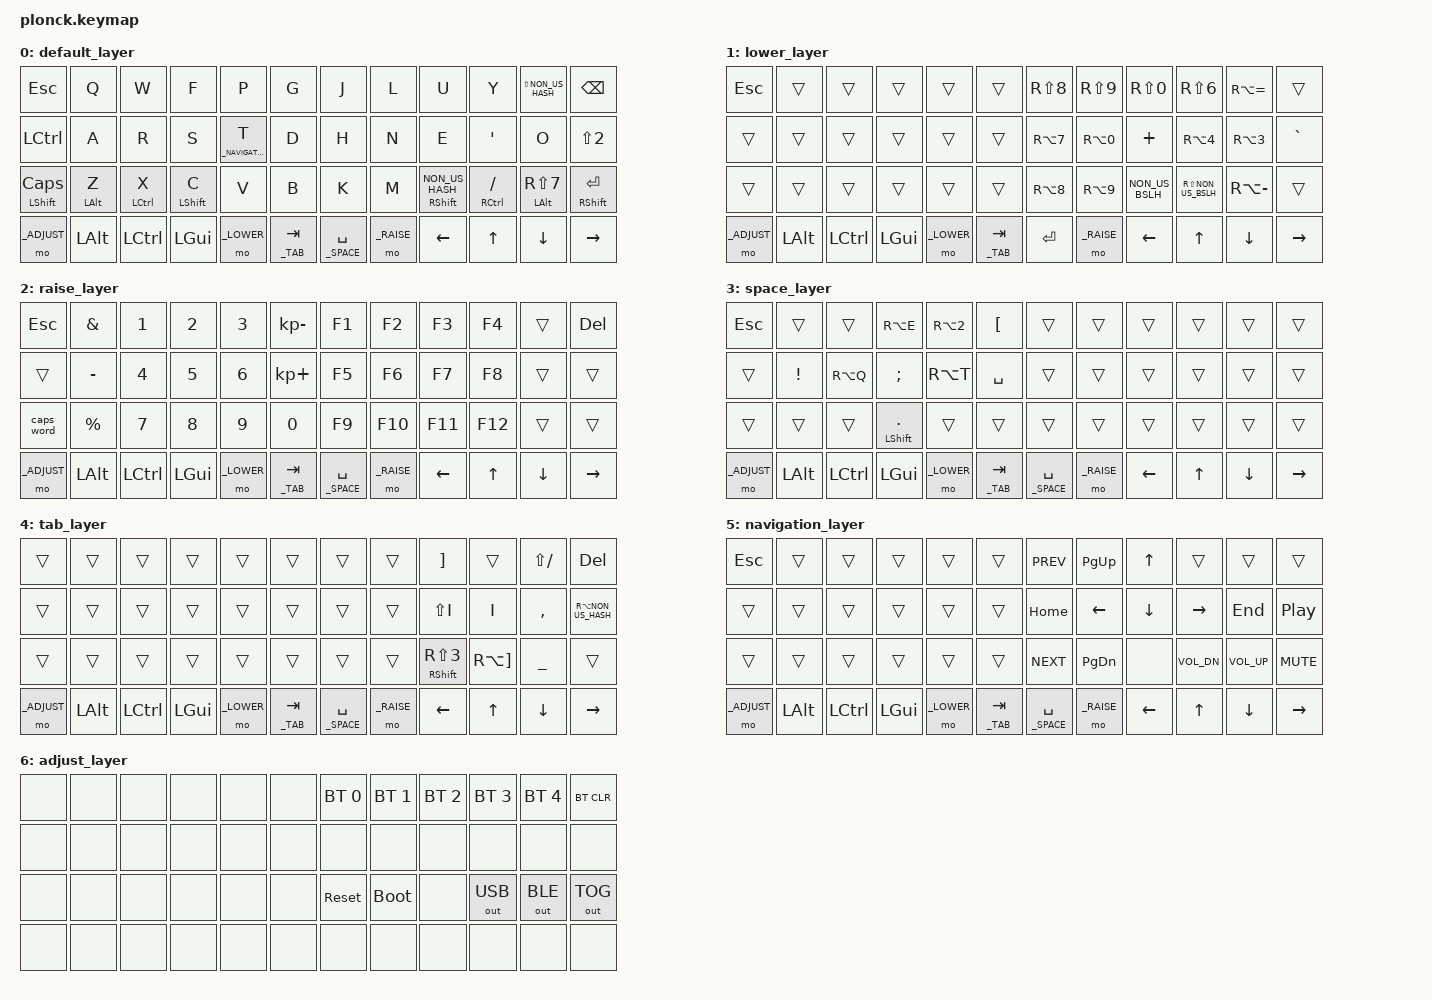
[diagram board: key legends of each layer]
/*
 * Copyright (c) 2021 ozkan
 *
 * SPDX-License-Identifier: MIT
 */


#include <behaviors.dtsi>
#include <dt-bindings/zmk/keys.h>
#include <dt-bindings/zmk/bt.h>
#include <dt-bindings/zmk/outputs.h>


// Layers
#define _COLEMAK     0
#define _LOWER       1
#define _RAISE       2
#define _SPACE       3
#define _TAB         4
#define _NAVIGATION  5
#define _ADJUST      6

&lt {
  quick_tap_ms = <200>;
};



/ {
    keymap {
        compatible = "zmk,keymap";

        default_layer {
           /* COLEMAK LAYER (DEFAULT)
            *╭──────┬──────┬──────┬──────┬──────┬──────┬──────┬──────┬──────┬──────┬──────┬──────╮
            *│  ESC │  Q   │  W   │  F   │  P   │  G   │  J   │  L   │  U   │  Y   │   ;  │ BSPC │
            *├──────┼──────┼──────┼──────┼──────┼──────┼──────┼──────┼──────┼──────┼──────┼──────┤
            *│ CTRL │  A   │  R   │  S   │NAV T │  D   │  H   │  N   │  E   │  I   │  O   │   '  │
            *├──────┼──────┼──────┼──────┼──────┼──────┼──────┼──────┼──────┼──────┼──────┼──────┤
            *│SFT_CL│ALT Z │CTL X │SFT C │  V   │  B   │  K   │  M   │SFT , │CTL . │ALT / │ ENT  │
            *├──────┼──────┼──────┼──────┼──────┼──────┼──────┼──────┼──────┼──────┼──────┼──────┤
            *│ADJUST│ LALT │LCTRL │ GUI  │LOWER │ TAB  │ SPC  │RAISE │  ‎‎← ‎‎  │  ↑   │  ↓   │  →   │
            *╰──────┴──────┴──────┴──────┴──────┴──────┴──────┴──────┴──────┴──────┴──────┴──────╯
            */
            bindings = <
                &kp ESC         &kp Q      &kp W        &kp F       &kp P              &kp G             &kp J             &kp L       &kp U                 &kp Y          &kp LS(NON_US_HASH) &kp BSPC
                &kp LCTRL       &kp A      &kp R        &kp S       &lt _NAVIGATION T  &kp D             &kp H             &kp N       &kp E                 &kp SQT        &kp O               &kp LS(N2)
                &mt LSHFT CLCK  &mt LALT Z &mt LCTRL X  &mt LSHFT C &kp V              &kp B             &kp K             &kp M       &mt RSHFT NON_US_HASH &mt RCTRL FSLH &mt LALT RS(N7)     &mt RSHFT RET
                &mo _ADJUST     &kp LALT  &kp LCTRL     &kp LGUI    &mo _LOWER         &lt _TAB TAB      &lt _SPACE SPACE  &mo _RAISE  &kp LEFT              &kp UP         &kp DOWN            &kp RIGHT
                >;
            };

        lower_layer {
           /* Lower
            *╭──────┬──────┬──────┬──────┬──────┬──────┬──────┬──────┬──────┬──────┬──────┬──────╮
            *│  ESC │      │      │      │      │      │  (   │   )  │   =  │   &  │  |   │      │
            *├──────┼──────┼──────┼──────┼──────┼──────┼──────┼──────┼──────┼──────┼──────┼──────┤
            *│      │      │      │      │      │      │  {   │   }  │   _  │   $  │  #   │  "   │
            *├──────┼──────┼──────┼──────┼──────┼──────┼──────┼──────┼──────┼──────┼──────┼──────┤
            *│      │      │      │      │      │      │  [   │   ]  │   <  │  >   │  \   │      │
            *├──────┼──────┼──────┼──────┼──────┼──────┼──────┼──────┼──────┼──────┼──────┼──────┤
            *│ADJUST│ LALT │LCTRL │ GUI  │LOWER │ TAB  │ SPC  │RAISE │  ‎‎← ‎‎  │  ↑   │  ↓   │  →   │
            *╰──────┴──────┴──────┴──────┴──────┴──────┴──────┴──────┴──────┴──────┴──────┴──────╯
            */
            bindings = <
                &kp ESC      &trans    &trans     &trans    &trans      &trans          &kp RS(N8)        &kp RS(N9)  &kp RS(N0)       &kp RS(N6)           &kp RA(EQUAL)  &trans
                &trans       &trans    &trans     &trans    &trans      &trans          &kp RA(N7)        &kp RA(N0)  &kp PLUS         &kp RA(N4)           &kp RA(N3)     &kp GRAVE
                &trans       &trans    &trans     &trans    &trans      &trans          &kp RA(N8)        &kp RA(N9)  &kp NON_US_BSLH  &kp RS(NON_US_BSLH)  &kp RA(MINUS)  &trans
                &mo _ADJUST  &kp LALT  &kp LCTRL  &kp LGUI  &mo _LOWER  &lt _TAB TAB    &kp RET           &mo _RAISE  &kp LEFT         &kp UP               &kp DOWN       &kp RIGHT
            >;
        };
        
        raise_layer {
           /* Raise
            *╭──────┬──────┬──────┬──────┬──────┬──────┬──────┬──────┬──────┬──────┬──────┬──────╮
            *│  ESC │  /   │  1   │  2   │  3   │  -   │  F1  │  F2  │  F3  │  F4  │      │      │
            *├──────┼──────┼──────┼──────┼──────┼──────┼──────┼──────┼──────┼──────┼──────┼──────┤
            *│      │  *   │  4   │  5   │  6   │  +   │  F5  │  F6  │  F7  │  F8  │      │      │
            *├──────┼──────┼──────┼──────┼──────┼──────┼──────┼──────┼──────┼──────┼──────┼──────┤
            *│      │  %   │  7   │  8   │  9   │  0   │  F9  │  F10 │  F11 │  F12 │      │      │
            *├──────┼──────┼──────┼──────┼──────┼──────┼──────┼──────┼──────┼──────┼──────┼──────┤
            *│ADJUST│ LALT │LCTRL │ GUI  │LOWER │ TAB  │ SPC  │RAISE │  ‎‎← ‎‎  │  ↑   │  ↓   │  →   │
            *╰──────┴──────┴──────┴──────┴──────┴──────┴──────┴──────┴──────┴──────┴──────┴──────╯
            */
            bindings = <
                &kp ESC      &kp AMPS    &kp N1     &kp N2    &kp N3      &kp KP_MINUS    &kp F1            &kp F2      &kp F3    &kp F4   &trans    &kp DEL
                &trans       &kp MINUS   &kp N4     &kp N5    &kp N6      &kp KP_PLUS     &kp F5            &kp F6      &kp F7    &kp F8   &trans    &trans
                &caps_word   &kp PRCNT   &kp N7     &kp N8    &kp N9      &kp N0          &kp F9            &kp F10     &kp F11   &kp F12  &trans    &trans
                &mo _ADJUST  &kp LALT    &kp LCTRL  &kp LGUI  &mo _LOWER  &lt _TAB TAB    &lt _SPACE SPACE  &mo _RAISE  &kp LEFT  &kp UP   &kp DOWN  &kp RIGHT
            >;
        };

        space_layer {
           /* Space Layer 
            *╭──────┬──────┬──────┬──────┬──────┬──────┬──────┬──────┬──────┬──────┬──────┬──────╮
            *│  ESC │      │      │  €   │  £   │   Ğ  │      │      │      │      │      │      │
            *├──────┼──────┼──────┼──────┼──────┼──────┼──────┼──────┼──────┼──────┼──────┼──────┤
            *│      │  !   │  @   │  Ş   │  ₺   │      │      │      │      │      │      │      │
            *├──────┼──────┼──────┼──────┼──────┼──────┼──────┼──────┼──────┼──────┼──────┼──────┤
            *│      │      │   Ç  │      │      │      │      │      │      │      │      │      │
            *├──────┼──────┼──────┼──────┼──────┼──────┼──────┼──────┼──────┼──────┼──────┼──────┤
            *│ADJUST│ LALT │LCTRL │ GUI  │LOWER │ TAB  │ SPC  │RAISE │  ‎‎← ‎‎  │  ↑   │  ↓   │  →   │
            *╰──────┴──────┴──────┴──────┴──────┴──────┴──────┴──────┴──────┴──────┴──────┴──────╯
            */
            bindings = <
                &kp ESC      &trans    &trans     &kp RA(E)        &kp  RA(N2)  &kp LBKT        &trans            &trans      &trans     &trans   &trans    &trans
                &trans       &kp EXCL  &kp RA(Q)  &kp SEMI         &kp  RA(T)   &kp SPACE       &trans            &trans      &trans     &trans   &trans    &trans
                &trans       &trans    &trans     &mt LSHFT  DOT   &trans       &trans          &trans            &trans      &trans     &trans   &trans    &trans
                &mo _ADJUST  &kp LALT  &kp LCTRL  &kp LGUI         &mo _LOWER   &lt _TAB TAB    &lt _SPACE SPACE  &mo _RAISE  &kp LEFT   &kp UP   &kp DOWN  &kp RIGHT
            >;
        };

        tab_layer {
           /* Tab Layer 
            *╭──────┬──────┬──────┬──────┬──────┬──────┬──────┬──────┬──────┬──────┬──────┬──────╮
            *│      │      │      │      │      │      │      │      │      │   Ü  │  :   │ DEL  │
            *├──────┼──────┼──────┼──────┼──────┼──────┼──────┼──────┼──────┼──────┼──────┼──────┤
            *│      │      │      │      │      │      │      │      │      │   I  │  Ö   │  `   │
            *├──────┼──────┼──────┼──────┼──────┼──────┼──────┼──────┼──────┼──────┼──────┼──────┤
            *│      │      │      │      │      │      │      │      │   ^  │   ~  │  ?   │      │
            *├──────┼──────┼──────┼──────┼──────┼──────┼──────┼──────┼──────┼──────┼──────┼──────┤
            *│ADJUST│ LALT │LCTRL │ GUI  │LOWER │ TAB  │ SPC  │RAISE │  ‎‎← ‎‎  │  ↑   │  ↓   │  →   │
            *╰──────┴──────┴──────┴──────┴──────┴──────┴──────┴──────┴──────┴──────┴──────┴──────╯
            */
            bindings = <
                &trans       &trans    &trans     &trans    &trans       &trans          &trans            &trans      &kp RBKT            &trans         &kp LS(SLASH)   &kp DEL
                &trans       &trans    &trans     &trans    &trans       &trans          &trans            &trans      &kp LS(I)           &kp I          &kp COMMA       &kp RA(NON_US_HASH)
                &trans       &trans    &trans     &trans    &trans       &trans          &trans            &trans      &mt RSHFT RS(N3)    &kp RA(RBKT)   &kp UNDER       &trans
                &mo _ADJUST  &kp LALT  &kp LCTRL  &kp LGUI  &mo _LOWER   &lt _TAB TAB    &lt _SPACE SPACE  &mo _RAISE  &kp LEFT            &kp UP         &kp DOWN        &kp RIGHT
            >;
        };


        navigation_layer {
            /* Navigation Layer
            *╭──────┬──────┬──────┬──────┬──────┬──────┬──────┬──────┬──────┬──────┬──────┬──────╮
            *│      │      │      │      │      │      │C_PREV│PG_UP │   ↑  │      │      │      │
            *├──────┼──────┼──────┼──────┼──────┼──────┼──────┼──────┼──────┼──────┼──────┼──────┤
            *│      │      │      │      │      │      │ HOME │  ‎‎←   │   ↓  │   →  │ END  │  P_P │     
            *├──────┼──────┼──────┼──────┼──────┼──────┼──────┼──────┼──────┼──────┼──────┼──────┤
            *│      │      │      │      │      │      │C_NEXT│PG_DN │      │VOL_DN│VOL_UP│ MUTE │
            *├──────┼──────┼──────┼──────┼──────┼──────┼──────┼──────┼──────┼──────┼──────┼──────┤
            *│ADJUST│ LALT │LCTRL │ GUI  │LOWER │ TAB  │ SPC  │RAISE │  ‎‎← ‎‎  │  ↑   │  ↓   │  →   │
            *╰──────┴──────┴──────┴──────┴──────┴──────┴──────┴──────┴──────┴──────┴──────┴──────╯
            */
             bindings = <
                &kp ESC      &trans    &trans     &trans    &trans       &trans          &kp C_PREV        &kp PG_UP   &kp UP     &trans         &trans         &trans
                &trans       &trans    &trans     &trans    &trans       &trans          &kp HOME          &kp LEFT    &kp DOWN   &kp RIGHT      &kp END        &kp C_PLAY_PAUSE
                &trans       &trans    &trans     &trans    &trans       &trans          &kp C_NEXT        &kp PG_DN   &none      &kp C_VOL_DN   &kp C_VOL_UP   &kp C_MUTE
                &mo _ADJUST  &kp LALT  &kp LCTRL  &kp LGUI  &mo _LOWER   &lt _TAB TAB    &lt _SPACE SPACE  &mo _RAISE  &kp LEFT   &kp UP         &kp DOWN       &kp RIGHT
            >;
        };

        adjust_layer {
            /* Adjust Layer
            *╭──────┬──────┬──────┬──────┬──────┬──────┬──────┬──────┬──────┬──────┬──────┬──────╮
            *│      │      │      │      │      │      │  BT1 │ BT2  │ BT3  │ BT4  │ BT5  │BT_CLR│
            *├──────┼──────┼──────┼──────┼──────┼──────┼──────┼──────┼──────┼──────┼──────┼──────┤
            *│      │      │      │      │      │      │      │      │      │      │      │      │
            *├──────┼──────┼──────┼──────┼──────┼──────┼──────┼──────┼──────┼──────┼──────┼──────┤
            *│      │      │      │      │      │      │RESET │BOOTLD│      │O_USB │O_BLE │O_TO  │
            *├──────┼──────┼──────┼──────┼──────┼──────┼──────┼──────┼──────┼──────┼──────┼──────┤
            *│      │      │      │      │      │      │      │      │  ‎‎  ‎‎  │      │      │      │
            *╰──────┴──────┴──────┴──────┴──────┴──────┴──────┴──────┴──────┴──────┴──────┴──────╯
            */
             bindings = <
                &none &none &none &none &none &none &bt BT_SEL 0 &bt BT_SEL 1  &bt BT_SEL 2 &bt BT_SEL 3       &bt BT_SEL 4        &bt BT_CLR
                &none &none &none &none &none &none &none        &none         &none         &none             &none               &none
                &none &none &none &none &none &none &sys_reset   &bootloader   &none        &out OUT_USB       &out OUT_BLE        &out OUT_TOG
                &none &none &none &none &none &none &none        &none         &none        &none              &none               &none
            >;
        };
    };
};






/* Template
*╭──────┬──────┬──────┬──────┬──────┬──────┬──────┬──────┬──────┬──────┬──────┬──────╮
*│      │      │      │      │      │      │      │      │      │      │      │      │
*├──────┼──────┼──────┼──────┼──────┼──────┼──────┼──────┼──────┼──────┼──────┼──────┤
*│      │      │      │      │      │      │      │      │      │      │      │      │
*├──────┼──────┼──────┼──────┼──────┼──────┼──────┼──────┼──────┼──────┼──────┼──────┤
*│      │      │      │      │      │      │      │      │      │      │      │      │
*├──────┼──────┼──────┼──────┼──────┼──────┼──────┼──────┼──────┼──────┼──────┼──────┤
*│      │      │      │      │      │      │      │      │  ‎‎  ‎‎  │      │      │      │
*╰──────┴──────┴──────┴──────┴──────┴──────┴──────┴──────┴──────┴──────┴──────┴──────╯
*/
